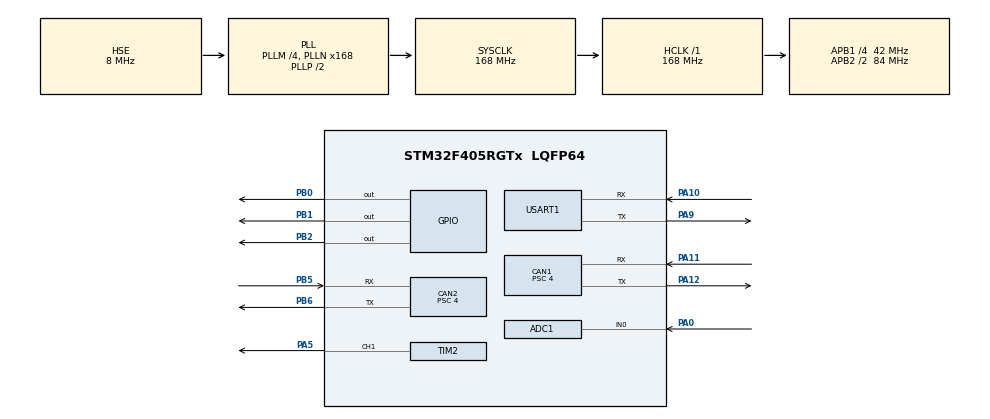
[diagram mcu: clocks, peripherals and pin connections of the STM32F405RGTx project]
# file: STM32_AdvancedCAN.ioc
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ADC1.Channel-1\#ChannelRegularConversion=ADC_CHANNEL_0
ADC1.ContinuousConvMode=ENABLE
ADC1.NbrOfConversionFlag=1
ADC1.Rank-1\#ChannelRegularConversion=1
ADC1.SamplingTime-1\#ChannelRegularConversion=ADC_SAMPLETIME_144CYCLES
ADC1.master=1
CAN1.ABOM=ENABLE
CAN1.AWUM=ENABLE
CAN1.BS1=CAN_BS1_16TQ
CAN1.BS2=CAN_BS2_4TQ
CAN1.CalculateBaudRate=500000
CAN1.CalculateTimeBit=2000
CAN1.CalculateTimeQuantum=95.23809523809524
CAN1.Prescaler=4
CAN1.SJW=CAN_SJW_2TQ
CAN2.ABOM=ENABLE
CAN2.AWUM=ENABLE
CAN2.BS1=CAN_BS1_16TQ
CAN2.BS2=CAN_BS2_4TQ
CAN2.CalculateBaudRate=500000
CAN2.CalculateTimeBit=2000
CAN2.CalculateTimeQuantum=95.23809523809524
CAN2.Prescaler=4
CAN2.SJW=CAN_SJW_2TQ
Dma.ADC1.0.Direction=DMA_PERIPH_TO_MEMORY
Dma.ADC1.0.FIFOMode=DMA_FIFOMODE_DISABLE
Dma.ADC1.0.Instance=DMA2_Stream0
Dma.ADC1.0.MemDataAlignment=DMA_MDATAALIGN_WORD
Dma.ADC1.0.MemInc=DMA_MINC_ENABLE
Dma.ADC1.0.Mode=DMA_NORMAL
Dma.ADC1.0.PeriphDataAlignment=DMA_PDATAALIGN_WORD
Dma.ADC1.0.PeriphInc=DMA_PINC_DISABLE
Dma.ADC1.0.Priority=DMA_PRIORITY_LOW
Dma.Request0=ADC1
Mcu.Family=STM32F4
Mcu.Name=STM32F405RGTx
Mcu.Package=LQFP64
NVIC.ADC_IRQn=true\:0\:0\:false\:false\:true\:true\:true\:true
NVIC.CAN1_RX0_IRQn=true\:0\:0\:false\:false\:true\:true\:true\:true
NVIC.CAN2_RX1_IRQn=true\:0\:0\:false\:false\:true\:true\:true\:true
NVIC.DMA2_Stream0_IRQn=true\:0\:0\:false\:false\:true\:false\:true\:true
NVIC.PriorityGroup=NVIC_PRIORITYGROUP_4
NVIC.RCC_IRQn=true\:0\:0\:false\:false\:true\:true\:false\:true
PA0-WKUP.Signal=ADCx_IN0
PA10.GPIO_PuPd=GPIO_PULLUP
PA10.Mode=Asynchronous
PA10.Signal=USART1_RX
PA11.GPIO_PuPd=GPIO_PULLUP
PA11.Mode=CAN_Activate
PA11.Signal=CAN1_RX
PA12.GPIO_PuPd=GPIO_PULLUP
PA12.Mode=CAN_Activate
PA12.Signal=CAN1_TX
PA13.Mode=Serial_Wire
PA13.Signal=SYS_JTMS-SWDIO
PA14.Mode=Serial_Wire
PA14.Signal=SYS_JTCK-SWCLK
PA5.Signal=S_TIM2_CH1_ETR
PA9.GPIO_PuPd=GPIO_PULLUP
PA9.Mode=Asynchronous
PA9.Signal=USART1_TX
PB0.GPIO_PuPd=GPIO_PULLUP
PB0.Signal=GPIO_Output
PB1.GPIO_PuPd=GPIO_PULLUP
PB1.Signal=GPIO_Output
PB2.GPIO_PuPd=GPIO_PULLUP
PB2.Signal=GPIO_Output
PB5.GPIO_PuPd=GPIO_PULLUP
PB5.Mode=CAN_Activate
PB5.Signal=CAN2_RX
PB6.GPIO_PuPd=GPIO_PULLUP
PB6.Mode=CAN_Activate
PB6.Signal=CAN2_TX
PH0-OSC_IN.Mode=HSE-External-Oscillator
PH0-OSC_IN.Signal=RCC_OSC_IN
PH1-OSC_OUT.Mode=HSE-External-Oscillator
PH1-OSC_OUT.Signal=RCC_OSC_OUT
ProjectManager.HeapSize=0x200
ProjectManager.StackSize=0x400
ProjectManager.TargetToolchain=STM32CubeIDE
RCC.48MHZClocksFreq_Value=84000000
RCC.AHBFreq_Value=168000000
RCC.APB1CLKDivider=RCC_HCLK_DIV4
RCC.APB1Freq_Value=42000000
RCC.APB1TimFreq_Value=84000000
RCC.APB2CLKDivider=RCC_HCLK_DIV2
RCC.APB2Freq_Value=84000000
RCC.APB2TimFreq_Value=168000000
RCC.CortexFreq_Value=168000000
RCC.HCLKFreq_Value=168000000
RCC.HSE_VALUE=8000000
RCC.HSI_VALUE=16000000
RCC.LSE_VALUE=32768
RCC.PLLM=4
RCC.PLLN=168
RCC.PLLSourceVirtual=RCC_PLLSOURCE_HSE
RCC.SYSCLKFreq_VALUE=168000000
RCC.SYSCLKSource=RCC_SYSCLKSOURCE_PLLCLK
RCC.VCOOutputFreq_Value=336000000
SH.ADCx_IN0.0=ADC1_IN0,IN0
SH.S_TIM2_CH1_ETR.0=TIM2_CH1,PWM Generation1 CH1
TIM2.AutoReloadPreload=TIM_AUTORELOAD_PRELOAD_ENABLE
TIM2.Channel-PWM\ Generation1\ CH1=TIM_CHANNEL_1
TIM2.Period=65535
USART1.VirtualMode=VM_ASYNC
VP_TIM2_VS_ClockSourceINT.Mode=Internal
board=custom

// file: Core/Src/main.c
/* USER CODE BEGIN Header */
/**
  ******************************************************************************
  * @file           : main.c
  * @brief          : Main program body
  ******************************************************************************
  * @attention
  *
  * Copyright (c) 2022 STMicroelectronics.
  * All rights reserved.
  *
  * This software is licensed under terms that can be found in the LICENSE file
  * in the root directory of this software component.
  * If no LICENSE file comes with this software, it is provided AS-IS.
  *
  ******************************************************************************
  */
/* USER CODE END Header */
#include "main.h"

/* USER CODE BEGIN Includes */
#include <stdio.h>
#include <string.h>
#include <time.h>
/* USER CODE END Includes */

ADC_HandleTypeDef hadc1;
DMA_HandleTypeDef hdma_adc1;

CAN_HandleTypeDef hcan1;
CAN_HandleTypeDef hcan2;

TIM_HandleTypeDef htim2;

UART_HandleTypeDef huart1;

/* USER CODE BEGIN PV */
CAN_TxHeaderTypeDef Tester_TxHeader;
CAN_RxHeaderTypeDef Tester_RxHeader;

uint8_t Tester_TxData[8] = {0x55};
uint8_t Tester_RxData[8] = {0x55};

uint32_t Tester_TxMailbox;

CAN_TxHeaderTypeDef ECU_TxHeader;
CAN_RxHeaderTypeDef ECU_RxHeader;

uint8_t ECU_TxData[8] = {0x55};
uint8_t ECU_RxData[8] = {0x55};

uint32_t ECU_TxMailbox;
/* USER CODE END PV */

void SystemClock_Config(void);
static void MX_GPIO_Init(void);
static void MX_DMA_Init(void);
static void MX_ADC1_Init(void);
static void MX_CAN1_Init(void);
static void MX_CAN2_Init(void);
static void MX_TIM2_Init(void);
static void MX_USART1_UART_Init(void);
/* USER CODE BEGIN PFP */
#ifdef __GNUC__
/* With GCC/RAISONANCE, small printf (option LD Linker->Libraries->Small printf
 set to 'Yes') calls __io_putchar() */
#define PUTCHAR_PROTOTYPE int __io_putchar(int ch)
#else
 #define PUTCHAR_PROTOTYPE int fputc(int ch, FILE *f)
#endif /* __GNUC__ */

/* USER CODE END PFP */

/* USER CODE BEGIN 0 */
uint32_t ADC_VAL;

void HAL_CAN_RxFifo0MsgPendingCallback(CAN_HandleTypeDef *hcan)
{
	// Tester get data
	HAL_CAN_GetRxMessage(hcan, CAN_RX_FIFO0, &Tester_RxHeader, Tester_RxData);
	// WHEN ECU SEND RESPONSE 0x62 --> POSITIVE RESPONSE
	if (Tester_RxData[1] == 0x62)
	{
		printf(" --> [RESPONSE] Tester get ADC value = 0x");
		for (uint8_t i = (Tester_RxData[0]<<4)>>4; i>1; i--)
		{
			if (Tester_RxData[i] != 0x55)
			{
				printf("%02x", Tester_RxData[i]);
			}
		}
	}
	else if (Tester_RxData[1] == 0x7F) // NEGATIVE RESPONSE
	{
		printf(" --> [ERROR] The ADC value is invalid !");
	}
	printf("\r\n");
	HAL_GPIO_WritePin(GPIOB, GPIO_PIN_2, GPIO_PIN_RESET);
}
void HAL_CAN_RxFifo1MsgPendingCallback(CAN_HandleTypeDef *hcan)
{
	// ECU get data
	HAL_CAN_GetRxMessage(hcan, CAN_RX_FIFO1, &ECU_RxHeader, ECU_RxData);
	// WHEN TESTER SEND REQUEST 0x22H
	if (ECU_RxData[1]==0x22)
	{
		HAL_GPIO_WritePin(GPIOB, GPIO_PIN_1, GPIO_PIN_SET);
		HAL_ADC_Start(&hadc1);
		HAL_ADC_PollForConversion(&hadc1, 1000);
		ADC_VAL = HAL_ADC_GetValue(&hadc1);
		HAL_ADC_Stop(&hadc1);

		if (ADC_VAL >= 0)	// read ADC value successful
		{
			ECU_TxData[0] = 0x05;	// 0x0: Single Frame (SF) + 0x5: Data Length (SF_DL)
			ECU_TxData[1] = 0x62;	// 0x22 + 0x40
			ECU_TxData[2] = ADC_VAL;
			ECU_TxData[3] = ADC_VAL >> 8;
			ECU_TxData[4] = ADC_VAL >> 16;
			ECU_TxData[5] = ADC_VAL >> 24;
		}
		else	// if ADC_VAL < 0 --> read unsuccessful
		{
			ECU_TxData[0] = 0x7F;	// Negative Response
			ECU_TxData[1] = 0x22;	// SID Read Data by Identified
			ECU_TxData[2] = 0x13;	// Invalid value

		}
		HAL_CAN_AddTxMessage(hcan, &ECU_TxHeader, ECU_TxData, &ECU_TxMailbox);
		HAL_GPIO_WritePin(GPIOB, GPIO_PIN_1, GPIO_PIN_RESET);
		HAL_GPIO_WritePin(GPIOB, GPIO_PIN_2, GPIO_PIN_SET);
	}
}
/* USER CODE END 0 */

int main(void)
{

  /* MCU Configuration--------------------------------------------------------*/

  /* Reset of all peripherals, Initializes the Flash interface and the Systick. */
  HAL_Init();

  /* Configure the system clock */
  SystemClock_Config();

  /* Initialize all configured peripherals */
  MX_GPIO_Init();
  MX_DMA_Init();
  MX_ADC1_Init();
  MX_CAN1_Init();
  MX_CAN2_Init();
  MX_TIM2_Init();
  MX_USART1_UART_Init();
  /* USER CODE BEGIN 2 */
  HAL_CAN_Start(&hcan1);
  HAL_CAN_Start(&hcan2);

  HAL_TIM_PWM_Start(&htim2, TIM_CHANNEL_1);

  HAL_CAN_ActivateNotification(&hcan1, CAN_IT_RX_FIFO0_MSG_PENDING);

  Tester_TxHeader.DLC = 8;
  Tester_TxHeader.IDE = CAN_ID_STD;
  Tester_TxHeader.RTR = CAN_RTR_DATA;
  Tester_TxHeader.StdId = 0x712;

  Tester_TxData[0] = 0x01;
  Tester_TxData[1] = 0x22;

  HAL_CAN_ActivateNotification(&hcan2, CAN_IT_RX_FIFO1_MSG_PENDING);
  ECU_TxHeader.DLC = 8;
  ECU_TxHeader.IDE = CAN_ID_STD;
  ECU_TxHeader.RTR = CAN_RTR_DATA;
  ECU_TxHeader.StdId = 0x7A2;

  clock_t time_request;
  /* USER CODE END 2 */

  /* Infinite loop */
  while (1)
  {

    /* USER CODE BEGIN 3 */
	  	time_request = clock();
	  	printf(" [REQUEST] Tester has just sent a request to ECU !");
		printf("\r\n");
		HAL_CAN_AddTxMessage(&hcan1, &Tester_TxHeader, Tester_TxData, &Tester_TxMailbox);
		HAL_GPIO_WritePin(GPIOB, GPIO_PIN_0, GPIO_PIN_SET);
		HAL_Delay(500);
		HAL_GPIO_WritePin(GPIOB, GPIO_PIN_0, GPIO_PIN_RESET);
		HAL_Delay(500 - (double)(clock() - time_request)/1000);
  }

  /* USER CODE END 3 */
}

void SystemClock_Config(void)
{
  RCC_OscInitTypeDef RCC_OscInitStruct = {0};
  RCC_ClkInitTypeDef RCC_ClkInitStruct = {0};

  /** Configure the main internal regulator output voltage
  */
  __HAL_RCC_PWR_CLK_ENABLE();
  __HAL_PWR_VOLTAGESCALING_CONFIG(PWR_REGULATOR_VOLTAGE_SCALE1);

  /** Initializes the RCC Oscillators according to the specified parameters
  * in the RCC_OscInitTypeDef structure.
  */
  RCC_OscInitStruct.OscillatorType = RCC_OSCILLATORTYPE_HSE;
  RCC_OscInitStruct.HSEState = RCC_HSE_ON;
  RCC_OscInitStruct.PLL.PLLState = RCC_PLL_ON;
  RCC_OscInitStruct.PLL.PLLSource = RCC_PLLSOURCE_HSE;
  RCC_OscInitStruct.PLL.PLLM = 4;
  RCC_OscInitStruct.PLL.PLLN = 168;
  RCC_OscInitStruct.PLL.PLLP = RCC_PLLP_DIV2;
  RCC_OscInitStruct.PLL.PLLQ = 4;
  if (HAL_RCC_OscConfig(&RCC_OscInitStruct) != HAL_OK)
  {
    Error_Handler();
  }

  /** Initializes the CPU, AHB and APB buses clocks
  */
  RCC_ClkInitStruct.ClockType = RCC_CLOCKTYPE_HCLK|RCC_CLOCKTYPE_SYSCLK
                              |RCC_CLOCKTYPE_PCLK1|RCC_CLOCKTYPE_PCLK2;
  RCC_ClkInitStruct.SYSCLKSource = RCC_SYSCLKSOURCE_PLLCLK;
  RCC_ClkInitStruct.AHBCLKDivider = RCC_SYSCLK_DIV1;
  RCC_ClkInitStruct.APB1CLKDivider = RCC_HCLK_DIV4;
  RCC_ClkInitStruct.APB2CLKDivider = RCC_HCLK_DIV2;

  if (HAL_RCC_ClockConfig(&RCC_ClkInitStruct, FLASH_LATENCY_5) != HAL_OK)
  {
    Error_Handler();
  }
}

static void MX_ADC1_Init(void)
{

  ADC_ChannelConfTypeDef sConfig = {0};

  /** Configure the global features of the ADC (Clock, Resolution, Data Alignment and number of conversion)
  */
  hadc1.Instance = ADC1;
  hadc1.Init.ClockPrescaler = ADC_CLOCK_SYNC_PCLK_DIV4;
  hadc1.Init.Resolution = ADC_RESOLUTION_12B;
  hadc1.Init.ScanConvMode = DISABLE;
  hadc1.Init.ContinuousConvMode = ENABLE;
  hadc1.Init.DiscontinuousConvMode = DISABLE;
  hadc1.Init.ExternalTrigConvEdge = ADC_EXTERNALTRIGCONVEDGE_NONE;
  hadc1.Init.ExternalTrigConv = ADC_SOFTWARE_START;
  hadc1.Init.DataAlign = ADC_DATAALIGN_RIGHT;
  hadc1.Init.NbrOfConversion = 1;
  hadc1.Init.DMAContinuousRequests = DISABLE;
  hadc1.Init.EOCSelection = ADC_EOC_SINGLE_CONV;
  if (HAL_ADC_Init(&hadc1) != HAL_OK)
  {
    Error_Handler();
  }

  /** Configure for the selected ADC regular channel its corresponding rank in the sequencer and its sample time.
  */
  sConfig.Channel = ADC_CHANNEL_0;
  sConfig.Rank = 1;
  sConfig.SamplingTime = ADC_SAMPLETIME_144CYCLES;
  if (HAL_ADC_ConfigChannel(&hadc1, &sConfig) != HAL_OK)
  {
    Error_Handler();
  }

}

static void MX_CAN1_Init(void)
{

  hcan1.Instance = CAN1;
  hcan1.Init.Prescaler = 4;
  hcan1.Init.Mode = CAN_MODE_NORMAL;
  hcan1.Init.SyncJumpWidth = CAN_SJW_2TQ;
  hcan1.Init.TimeSeg1 = CAN_BS1_16TQ;
  hcan1.Init.TimeSeg2 = CAN_BS2_4TQ;
  hcan1.Init.TimeTriggeredMode = DISABLE;
  hcan1.Init.AutoBusOff = ENABLE;
  hcan1.Init.AutoWakeUp = ENABLE;
  hcan1.Init.AutoRetransmission = DISABLE;
  hcan1.Init.ReceiveFifoLocked = DISABLE;
  hcan1.Init.TransmitFifoPriority = DISABLE;
  if (HAL_CAN_Init(&hcan1) != HAL_OK)
  {
    Error_Handler();
  }
  /* USER CODE BEGIN CAN1_Init 2 */
  CAN_FilterTypeDef canfilterconfig;

  canfilterconfig.FilterActivation = CAN_FILTER_ENABLE;
  canfilterconfig.FilterBank = 18; // which filter bank to use from the assigned ones
  canfilterconfig.FilterFIFOAssignment = CAN_FILTER_FIFO0;
  canfilterconfig.FilterIdHigh = 0x7A2 << 5;
  canfilterconfig.FilterIdLow = 0;
  canfilterconfig.FilterMaskIdHigh = 0x7A2 << 5;
  canfilterconfig.FilterMaskIdLow = 0x0000;
  canfilterconfig.FilterMode = CAN_FILTERMODE_IDMASK;
  canfilterconfig.FilterScale = CAN_FILTERSCALE_32BIT;
  canfilterconfig.SlaveStartFilterBank = 20; // how many filters to assign to the CAN1 (master can)

  HAL_CAN_ConfigFilter(&hcan1, &canfilterconfig);
  /* USER CODE END CAN1_Init 2 */

}

static void MX_CAN2_Init(void)
{

  hcan2.Instance = CAN2;
  hcan2.Init.Prescaler = 4;
  hcan2.Init.Mode = CAN_MODE_NORMAL;
  hcan2.Init.SyncJumpWidth = CAN_SJW_2TQ;
  hcan2.Init.TimeSeg1 = CAN_BS1_16TQ;
  hcan2.Init.TimeSeg2 = CAN_BS2_4TQ;
  hcan2.Init.TimeTriggeredMode = DISABLE;
  hcan2.Init.AutoBusOff = ENABLE;
  hcan2.Init.AutoWakeUp = ENABLE;
  hcan2.Init.AutoRetransmission = DISABLE;
  hcan2.Init.ReceiveFifoLocked = DISABLE;
  hcan2.Init.TransmitFifoPriority = DISABLE;
  if (HAL_CAN_Init(&hcan2) != HAL_OK)
  {
    Error_Handler();
  }
  /* USER CODE BEGIN CAN2_Init 2 */
  CAN_FilterTypeDef canfilterconfig;

  canfilterconfig.FilterActivation = CAN_FILTER_ENABLE;
  canfilterconfig.FilterBank = 10; // which filter bank to use from the assigned ones
  canfilterconfig.FilterFIFOAssignment = CAN_FILTER_FIFO1;
  canfilterconfig.FilterIdHigh = 0x712 << 5;
  canfilterconfig.FilterIdLow = 0;
  canfilterconfig.FilterMaskIdHigh = 0x712 << 5;
  canfilterconfig.FilterMaskIdLow = 0x0000;
  canfilterconfig.FilterMode = CAN_FILTERMODE_IDMASK;
  canfilterconfig.FilterScale = CAN_FILTERSCALE_32BIT;
  canfilterconfig.SlaveStartFilterBank = 0; // doesn't matter in single can controllers

  HAL_CAN_ConfigFilter(&hcan2, &canfilterconfig);
  /* USER CODE END CAN2_Init 2 */

}

static void MX_TIM2_Init(void)
{

  TIM_ClockConfigTypeDef sClockSourceConfig = {0};
  TIM_MasterConfigTypeDef sMasterConfig = {0};
  TIM_OC_InitTypeDef sConfigOC = {0};

  htim2.Instance = TIM2;
  htim2.Init.Prescaler = 0;
  htim2.Init.CounterMode = TIM_COUNTERMODE_UP;
  htim2.Init.Period = 65535;
  htim2.Init.ClockDivision = TIM_CLOCKDIVISION_DIV1;
  htim2.Init.AutoReloadPreload = TIM_AUTORELOAD_PRELOAD_ENABLE;
  if (HAL_TIM_Base_Init(&htim2) != HAL_OK)
  {
    Error_Handler();
  }
  sClockSourceConfig.ClockSource = TIM_CLOCKSOURCE_INTERNAL;
  if (HAL_TIM_ConfigClockSource(&htim2, &sClockSourceConfig) != HAL_OK)
  {
    Error_Handler();
  }
  if (HAL_TIM_PWM_Init(&htim2) != HAL_OK)
  {
    Error_Handler();
  }
  sMasterConfig.MasterOutputTrigger = TIM_TRGO_RESET;
  sMasterConfig.MasterSlaveMode = TIM_MASTERSLAVEMODE_DISABLE;
  if (HAL_TIMEx_MasterConfigSynchronization(&htim2, &sMasterConfig) != HAL_OK)
  {
    Error_Handler();
  }
  sConfigOC.OCMode = TIM_OCMODE_PWM1;
  sConfigOC.Pulse = 0;
  sConfigOC.OCPolarity = TIM_OCPOLARITY_HIGH;
  sConfigOC.OCFastMode = TIM_OCFAST_DISABLE;
  if (HAL_TIM_PWM_ConfigChannel(&htim2, &sConfigOC, TIM_CHANNEL_1) != HAL_OK)
  {
    Error_Handler();
  }
  HAL_TIM_MspPostInit(&htim2);

}

static void MX_USART1_UART_Init(void)
{

  huart1.Instance = USART1;
  huart1.Init.BaudRate = 115200;
  huart1.Init.WordLength = UART_WORDLENGTH_8B;
  huart1.Init.StopBits = UART_STOPBITS_1;
  huart1.Init.Parity = UART_PARITY_NONE;
  huart1.Init.Mode = UART_MODE_TX_RX;
  huart1.Init.HwFlowCtl = UART_HWCONTROL_NONE;
  huart1.Init.OverSampling = UART_OVERSAMPLING_16;
  if (HAL_UART_Init(&huart1) != HAL_OK)
  {
    Error_Handler();
  }

}

static void MX_DMA_Init(void)
{

  /* DMA controller clock enable */
  __HAL_RCC_DMA2_CLK_ENABLE();

  /* DMA interrupt init */
  /* DMA2_Stream0_IRQn interrupt configuration */
  HAL_NVIC_SetPriority(DMA2_Stream0_IRQn, 0, 0);
  HAL_NVIC_EnableIRQ(DMA2_Stream0_IRQn);

}

static void MX_GPIO_Init(void)
{
  GPIO_InitTypeDef GPIO_InitStruct = {0};

  /* GPIO Ports Clock Enable */
  __HAL_RCC_GPIOH_CLK_ENABLE();
  __HAL_RCC_GPIOA_CLK_ENABLE();
  __HAL_RCC_GPIOB_CLK_ENABLE();

  /*Configure GPIO pin Output Level */
  HAL_GPIO_WritePin(GPIOB, GPIO_PIN_0|GPIO_PIN_1|GPIO_PIN_2, GPIO_PIN_RESET);

  /*Configure GPIO pins : PB0 PB1 PB2 */
  GPIO_InitStruct.Pin = GPIO_PIN_0|GPIO_PIN_1|GPIO_PIN_2;
  GPIO_InitStruct.Mode = GPIO_MODE_OUTPUT_PP;
  GPIO_InitStruct.Pull = GPIO_PULLUP;
  GPIO_InitStruct.Speed = GPIO_SPEED_FREQ_LOW;
  HAL_GPIO_Init(GPIOB, &GPIO_InitStruct);

}

/* USER CODE BEGIN 4 */
/**
 * @brief Retargets the C library printf function to the USART.
 * @param None
 * @retval None
 */
PUTCHAR_PROTOTYPE
{
  /* Place your implementation of fputc here */
  /* e.g. write a character to the USART */
  HAL_UART_Transmit(&huart1, (uint8_t*) &ch, 1, 100);
  return ch;
}

/* USER CODE END 4 */

void Error_Handler(void)
{
  __disable_irq();
  while (1)
  {
  }
}
